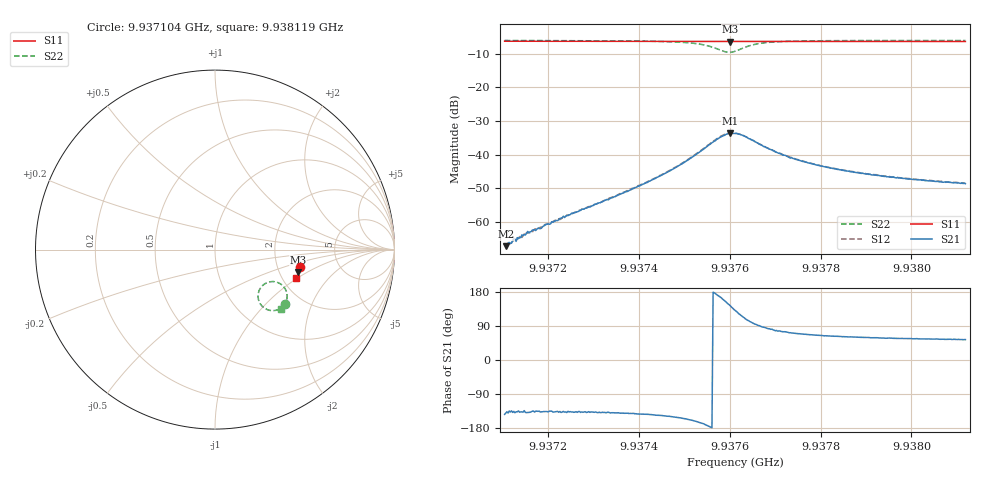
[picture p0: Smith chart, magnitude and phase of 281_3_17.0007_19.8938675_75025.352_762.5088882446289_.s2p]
#  HZ  S  RI  R  50.00
! Rohde & Schwarz Vector Network Analyzer
! Rohde-Schwarz,ZNB20-2Port,1311601062101988,3.16
! Created: UTC 3/20/2024, 11:04:42 PM
! freq[Hz]  re:S11  im:S11  re:S21  im:S21  re:S12  im:S12  re:S22  im:S22
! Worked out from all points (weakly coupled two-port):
!   401 points, 9.937104 GHz to 9.938119 GHz, reference 50 ohm
!   highest |S21| = -33.65 dB at 9.937601 GHz (marker M1); lowest = -67.2 dB at 9.937106 GHz (marker M2)
!   lowest |S11| = -6.4 dB at 9.937601 GHz (marker M3), VSWR 2.84, Z = 126 - j41.5 ohm
!   |S11| at or under -10 dB: nowhere
!   |S22| runs from -9.6 to -6.1 dB; largest |S21 - S12| = 0.00096
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9.9371039e9  0.475 -0.0944  -0.000368 -0.000273  -0.000351 -0.000276  0.3922 -0.3059
9.9371065e9  0.475 -0.0945  -0.000334 -0.000282  -0.000348 -0.000312  0.3921 -0.3059
9.9371217e9  0.4747 -0.0956  -0.000394 -0.000351  -0.000392 -0.000342  0.3911 -0.3072
9.9371522e9  0.474 -0.0976  -0.000509 -0.000445  -0.000512 -0.000465  0.3889 -0.3094
9.9371598e9  0.4739 -0.0982  -0.000528 -0.000476  -0.000517 -0.000454  0.3881 -0.3099
9.9372181e9  0.4728 -0.1021  -0.000759 -0.00073  -0.000783 -0.000739  0.3831 -0.3145
9.9372308e9  0.4726 -0.103  -0.00085 -0.000787  -0.000828 -0.000783  0.382 -0.3154
9.9372739e9  0.4717 -0.1059  -0.00113 -0.00105  -0.00115 -0.00104  0.3774 -0.3192
9.937378e9  0.4696 -0.113  -0.00228 -0.00183  -0.00233 -0.00185  0.3622 -0.3294
9.937444e9  0.4681 -0.1174  -0.00393 -0.00265  -0.00401 -0.00261  0.3447 -0.3365
9.9374947e9  0.4667 -0.1209  -0.00654 -0.00324  -0.00674 -0.0032  0.3203 -0.3399
9.9375429e9  0.4651 -0.1241  -0.0119 -0.00243  -0.0122 -0.00212  0.2758 -0.3263
9.9375759e9  0.4637 -0.1256  -0.0173 0.00349  -0.0175 0.00394  0.2412 -0.2732
9.9376013e9  0.4629 -0.1263  -0.0165 0.0126  -0.0161 0.0132  0.2624 -0.203
9.9376114e9  0.4629 -0.1264  -0.0136 0.0155  -0.0132 0.0162  0.289 -0.1847
9.9376317e9  0.4633 -0.1274  -0.00688 0.0175  -0.00635 0.018  0.3449 -0.1819
9.9376672e9  0.4633 -0.13  0.00019 0.0141  0.000588 0.0142  0.3924 -0.2213
9.9377281e9  0.4625 -0.1343  0.00272 0.0089  0.00299 0.00898  0.4014 -0.2686
9.9377814e9  0.4612 -0.1381  0.00292 0.0067  0.00309 0.00669  0.397 -0.2893
9.9378601e9  0.4593 -0.1435  0.00277 0.00496  0.00285 0.00495  0.389 -0.306
9.9379514e9  0.4572 -0.1495  0.00247 0.00393  0.00261 0.00396  0.381 -0.3178
9.9381189e9  0.4527 -0.1603  0.00219 0.00299  0.0023 0.00301  0.3689 -0.3325
